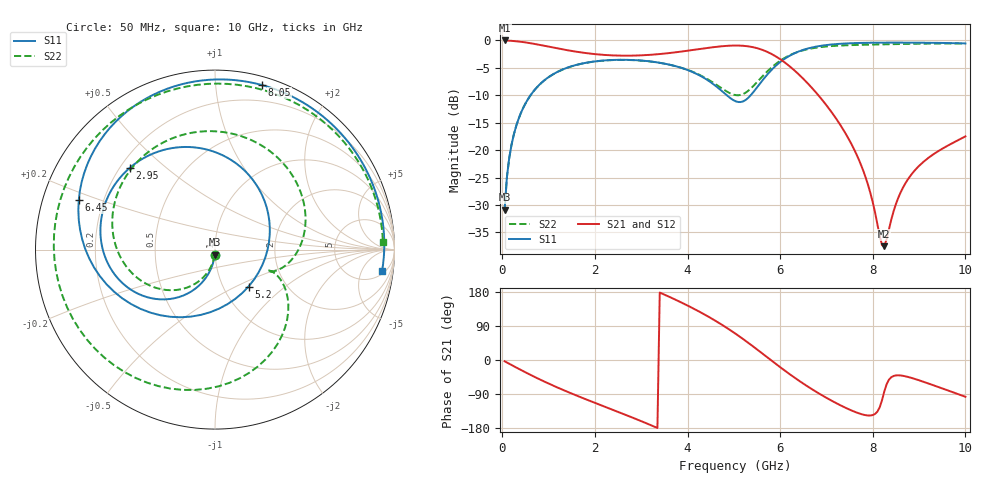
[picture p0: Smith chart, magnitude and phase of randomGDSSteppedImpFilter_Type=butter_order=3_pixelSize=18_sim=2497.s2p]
! freq	dB(S11)	phase(S11)	dB(S12)	phase(S12)
!  dB(S21)	phase(S21)	dB(S22)	phase(S22)
!S-par simulation data
#  GHz  S  DB  R 50
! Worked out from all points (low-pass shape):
!   200 points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, 50 MHz to 10 GHz, reference 50 ohm
!   highest |S21| = -0.01 dB at 50 MHz (marker M1); lowest = -37.5 dB at 8.25 GHz (marker M2)
!   |S21| within 3 dB of the highest: start of sweep to 5.924 GHz
!   lowest |S11| = -30.9 dB at 50 MHz (marker M3), VSWR 1.06, Z = 49.8 - j2.84 ohm
!   |S11| at or under -10 dB: start of sweep to 610.4 MHz; 4.847 GHz to 5.364 GHz (516.4 MHz wide, 10.1 % of centre)
!   |S22| runs from -30.9 to -0.6 dB; largest |S21 - S12| = 0
!   S11 on the Smith chart (normalised r, x): 50 MHz: 1.00, -0.06; 2.95 GHz: 0.24, +0.38; 5.2 GHz: 1.31, -0.58; 6.45 GHz: 0.11, +0.17; 8.05 GHz: 0.07, +1.32; 10 GHz: 6, -12
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0.05  -30.89 -93.1  -0.01 -3.4  -0.01 -3.4  -30.90 -93.9
0.2  -19.00 -102.2  -0.08 -13.3  -0.08 -13.3  -19.00 -105.2
0.5  -11.50 -119.3  -0.36 -32.5  -0.36 -32.5  -11.51 -126.8
1.05  -6.41 -147.5  -1.22 -64.9  -1.22 -64.9  -6.43 -163.5
1.75  -4.17 -177.8  -2.25 -101.0  -2.25 -101.0  -4.18 154.7
2.95  -3.64 136.1  -2.74 -158.8  -2.74 -158.8  -3.66 85.8
3.4  -4.08 117.6  -2.49 178.0  -2.49 178.0  -4.09 58.5
4.25  -6.34 72.8  -1.58 127.9  -1.58 127.9  -6.25 5.4
4.7  -8.94 34.0  -1.10 96.2  -1.10 96.2  -8.51 -17.0
5.05  -11.14 -18.1  -0.93 68.2  -0.93 68.2  -9.99 -22.0
5.2  -11.12 -47.7  -0.98 55.3  -0.98 55.3  -9.78 -21.1
5.75  -5.96 -135.9  -2.20 4.5  -2.20 4.5  -5.42 -40.4
6.1  -3.34 -171.6  -4.02 -28.0  -4.02 -28.0  -3.17 -69.9
6.45  -1.86 160.1  -6.59 -58.3  -6.59 -58.3  -1.92 -102.9
6.7  -1.26 143.1  -8.79 -78.1  -8.79 -78.1  -1.43 -126.5
7.35  -0.59 106.6  -16.09 -122.5  -16.09 -122.5  -0.91 174.9
8.05  -0.41 74.1  -31.40 -142.3  -31.40 -142.3  -0.74 118.0
8.25  -0.40 65.5  -37.52 -82.6  -37.52 -82.6  -0.71 103.2
8.35  -0.40 61.3  -34.41 -51.7  -34.41 -51.7  -0.69 96.0
8.65  -0.40 48.8  -26.88 -41.7  -26.88 -41.7  -0.65 75.7
9.2  -0.43 26.2  -21.43 -61.9  -21.43 -61.9  -0.58 42.5
10  -0.55 -7.4  -17.51 -97.1  -17.51 -97.1  -0.57 2.7
